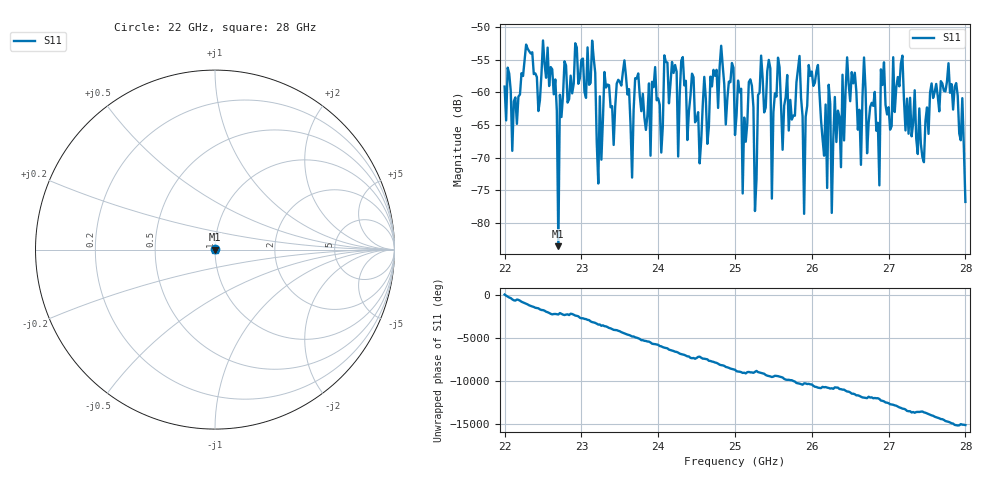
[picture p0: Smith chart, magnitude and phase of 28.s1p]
#  HZ  S  RI  R  50.00
! Rohde & Schwarz ZVA40 4Ports - Version 3.90 - 1145.1110k42 SN: 100403
! Date: 2023-10-04 06:56:35
! Measurement: S12
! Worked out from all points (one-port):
!   301 points, 22 GHz to 28 GHz, reference 50 ohm
!   lowest |S11| = -83.6 dB at 22.7 GHz (marker M1), VSWR 1.00, Z = 50 - j0.00662 ohm
!   |S11| at or under -10 dB: start of sweep to end of sweep
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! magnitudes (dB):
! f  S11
! 22 GHz  -59.1
! 22.56 GHz  -53.2
! 22.66 GHz  -58.0
! 22.7 GHz  -83.6
! 22.72 GHz  -60.4
! 22.76 GHz  -60.6
! 23.14 GHz  -52.1
! 23.22 GHz  -74.0
! 23.5 GHz  -58.4
! 23.66 GHz  -73.1
! 23.7 GHz  -57.9
! 24.04 GHz  -69.2
! 24.22 GHz  -55.8
! 24.26 GHz  -69.9
! 24.32 GHz  -54.6
! 25 GHz  -66.6
! 25.76 GHz  -63.6
! 25.84 GHz  -54.4
! 25.9 GHz  -78.6
! 25.96 GHz  -55.8
! 26.2 GHz  -74.7
! 26.22 GHz  -58.9
! 26.26 GHz  -78.5
! 26.3 GHz  -60.7
! 26.5 GHz  -61.4
! 27.26 GHz  -66.4
! 27.78 GHz  -55.6
! 28 GHz  -76.8
